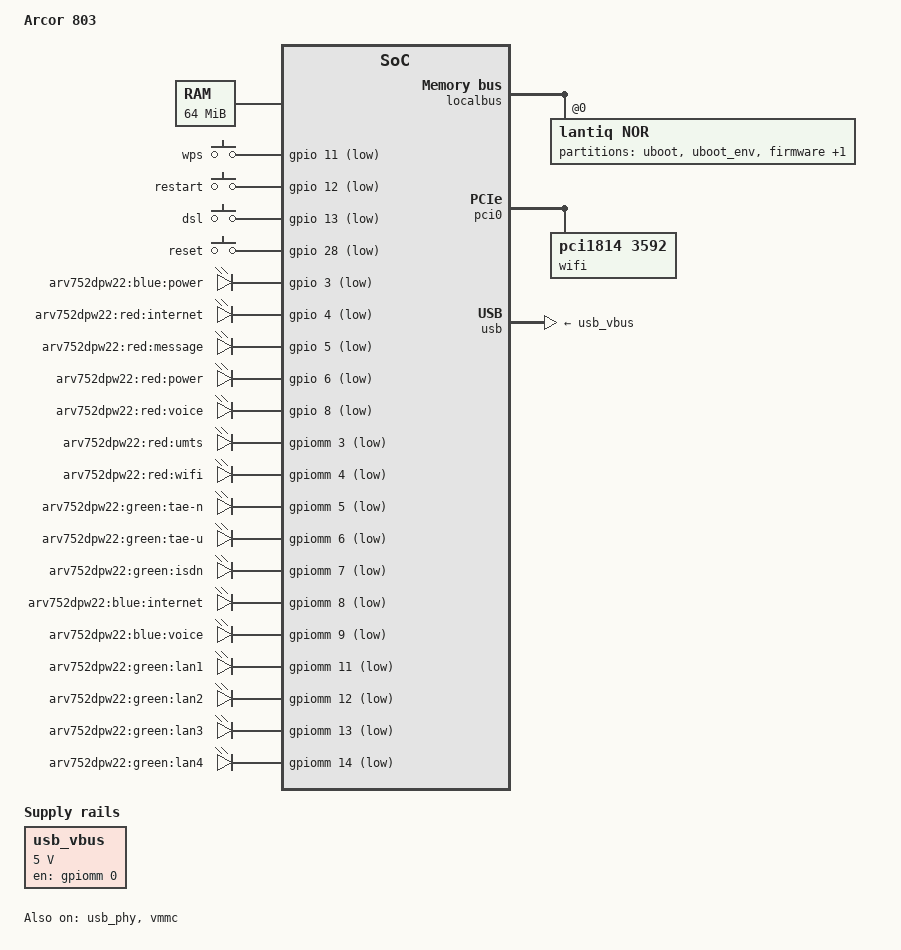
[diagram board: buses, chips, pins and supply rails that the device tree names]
/dts-v1/;

#include "danube.dtsi"

#include <dt-bindings/input/input.h>

/ {
	compatible = "arcadyan,arv752dpw22", "lantiq,xway", "lantiq,danube";
	model = "Arcor 803";

	chosen {
		bootargs = "console=ttyLTQ0,115200";
	};

	aliases {
		led-boot = &power_red;
		led-failsafe = &power_blue;
		led-running = &power_red;

		led-dsl = &internet_red;
		led-usb = &umts;
		led-wifi = &wifi;
	};

	memory@0 {
		reg = <0x0 0x4000000>;
	};

	gpio-keys-polled {
		compatible = "gpio-keys-polled";
		#address-cells = <1>;
		#size-cells = <0>;
		poll-interval = <100>;

		wps {
			label = "wps";
			gpios = <&gpio 11 GPIO_ACTIVE_LOW>;
			linux,code = <KEY_WPS_BUTTON>;
		};
		restart {
			label = "restart";
			gpios = <&gpio 12 GPIO_ACTIVE_LOW>;
			linux,code = <KEY_POWER>;
		};
		dsl {
			label = "dsl";
			gpios = <&gpio 13 GPIO_ACTIVE_LOW>;
			linux,code = <BTN_0>;
		};
		reset {
			label = "reset";
			gpios = <&gpio 28 GPIO_ACTIVE_LOW>;
			linux,code = <KEY_RESTART>;
		};
	};

	gpio-leds {
		compatible = "gpio-leds";
		power_blue: power1 {
			label = "arv752dpw22:blue:power";
			gpios = <&gpio 3 GPIO_ACTIVE_LOW>;
		};
		internet_red: internet {
			label = "arv752dpw22:red:internet";
			gpios = <&gpio 4 GPIO_ACTIVE_LOW>;
		};
		message {
			label = "arv752dpw22:red:message";
			gpios = <&gpio 5 GPIO_ACTIVE_LOW>;
		};
		power_red: power {
			label = "arv752dpw22:red:power";
			gpios = <&gpio 6 GPIO_ACTIVE_LOW>;
			default-state = "keep";
		};
		voice1 {
			label = "arv752dpw22:red:voice";
			gpios = <&gpio 8 GPIO_ACTIVE_LOW>;
		};
		umts: umts {
			label = "arv752dpw22:red:umts";
			gpios = <&gpiomm 3 GPIO_ACTIVE_LOW>;
		};
		wifi: wifi {
			label = "arv752dpw22:red:wifi";
			gpios = <&gpiomm 4 GPIO_ACTIVE_LOW>;
		};
		fxs1 {
			label = "arv752dpw22:green:tae-n";
			gpios = <&gpiomm 5 GPIO_ACTIVE_LOW>;
		};
		fxs2 {
			label = "arv752dpw22:green:tae-u";
			gpios = <&gpiomm 6 GPIO_ACTIVE_LOW>;
		};
		fxo {
			label = "arv752dpw22:green:isdn";
			gpios = <&gpiomm 7 GPIO_ACTIVE_LOW>;
		};
		internet2 {
			label = "arv752dpw22:blue:internet";
			gpios = <&gpiomm 8 GPIO_ACTIVE_LOW>;
		};
		voice2 {
			label = "arv752dpw22:blue:voice";
			gpios = <&gpiomm 9 GPIO_ACTIVE_LOW>;
		};
		eth1 {
			 label = "arv752dpw22:green:lan1";
			 gpios = <&gpiomm 11 GPIO_ACTIVE_LOW>;
		};
		eth2 {
			label = "arv752dpw22:green:lan2";
			gpios = <&gpiomm 12 GPIO_ACTIVE_LOW>;
		};
		eth3 {
			label = "arv752dpw22:green:lan3";
			gpios = <&gpiomm 13 GPIO_ACTIVE_LOW>;
		};
		eth4 {
			label = "arv752dpw22:green:lan4";
			gpios = <&gpiomm 14 GPIO_ACTIVE_LOW>;
		};
	};

	usb_vbus: regulator-usb-vbus {
		compatible = "regulator-fixed";

		regulator-name = "USB_VBUS";

		regulator-min-microvolt = <5000000>;
		regulator-max-microvolt = <5000000>;

		gpio = <&gpiomm 0 GPIO_ACTIVE_HIGH>;
		enable-active-high;
	};
};

&gpio {
	pinctrl-names = "default";
	pinctrl-0 = <&state_default>;

	state_default: pinmux {
		ebu {
			lantiq,groups = "ebu cs1";
			lantiq,function = "ebu";
		};
		exin {
			lantiq,groups = "exin1";
			lantiq,function = "exin";
			lantiq,pull = <2>;
			lantiq,output = <0>;
		};
		pci_in {
			lantiq,groups = "req1";
			lantiq,function = "pci";
			lantiq,pull = <2>;
			lantiq,output = <0>;
		};
		pci_out {
			lantiq,groups = "gnt1";
			lantiq,function = "pci";
			lantiq,open-drain = <1>;
			lantiq,output = <1>;
		};
		pci_rst {
			lantiq,pins = "io21";
			lantiq,open-drain = <1>;
			lantiq,output = <1>;
		};
		leds {
			lantiq,pins = "io3", "io5", "io6", "io8";
			lantiq,open-drain = <1>;
			lantiq,output = <1>;
		};
		buttons {
			lantiq,pins = "io11", "io12", "io13", "io28";
			lantiq,pull = <2>;
			lantiq,output = <0>;
		};
	};
};


&gpiomm {
	status = "okay";
	lantiq,shadow = <3>;
};

&gsw {
	phy-mode = "mii";
	mtd-mac-address = <&boardconfig 0x16>;
};

&localbus {
	nor@0 {
		compatible = "lantiq,nor";
		bank-width = <2>;
		reg = <0 0x0 0x800000>;
		#address-cells = <1>;
		#size-cells = <1>;

		partitions {
			compatible = "fixed-partitions";
			#address-cells = <1>;
			#size-cells = <1>;

			partition@0 {
				label = "uboot";
				reg = <0x00000 0x30000>;
				read-only;
			};

			partition@10000 {
				label = "uboot_env";
				reg = <0x30000 0x10000>;
				read-only;
			};

			partition@20000 {
				label = "firmware";
				reg = <0x40000 0x7b0000>;
			};

			boardconfig: partition@7f0000 {
				label = "board_config";
				reg = <0x7f0000 0x10000>;
				read-only;
			};
		};
	};
};

&pci0 {
	status = "okay";
	lantiq,external-clock;
	interrupt-map = <
		0x7000 0 0 1 &icu0 30
		0x7800 0 0 1 &icu0 135
		0x7800 0 0 2 &icu0 135
		0x7800 0 0 3 &icu0 135
	>;
	gpio-reset = <&gpio 21 GPIO_ACTIVE_HIGH>;
	req-mask = <0x3>;

	wifi@1814,3592 {
		compatible = "pci1814,3592";
		reg = <0x7000 0 0 0 0>;
		ralink,mtd-eeprom = <&boardconfig 0x410>;
		ralink,mtd-eeprom-swap;
		mtd-mac-address = <&boardconfig 0x16>;
	};
};

&usb_phy {
	status = "okay";
};

&usb {
	status = "okay";
	vbus-supply = <&usb_vbus>;
};

&vmmc {
	status = "okay";
	gpios = <&gpiomm 1 GPIO_ACTIVE_HIGH>;
};
